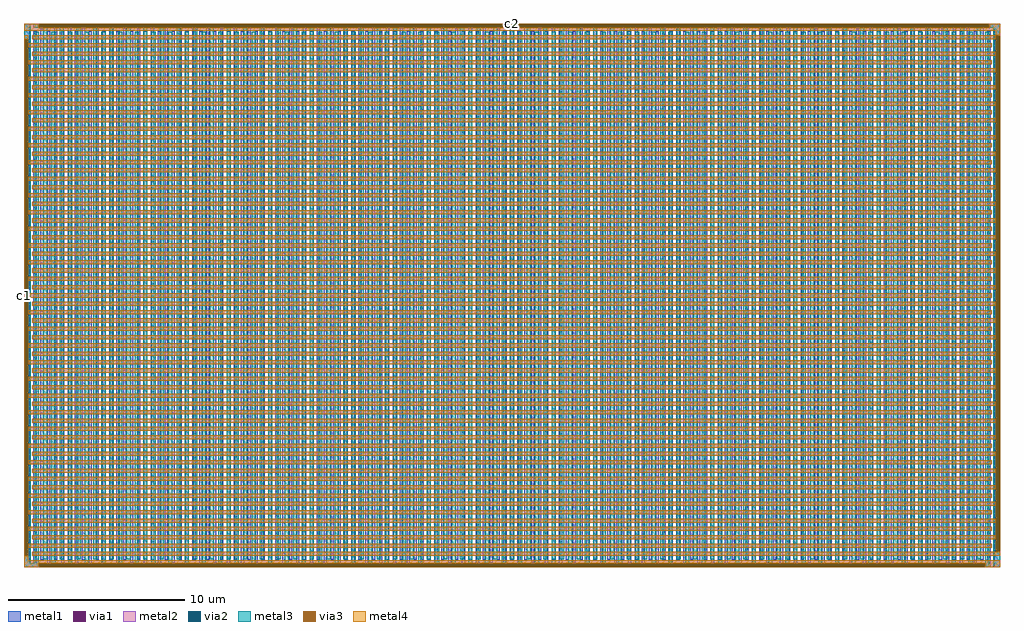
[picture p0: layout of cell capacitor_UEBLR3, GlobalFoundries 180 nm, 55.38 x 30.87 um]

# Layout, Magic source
magic
tech gf180mcuD
magscale 3 26
<< metal1 >>
rect 0 5197 56 5350
rect 92 5349 9600 5350
rect 92 5309 138 5349
rect 9502 5309 9600 5349
rect 92 5308 9600 5309
rect 0 113 1 5197
rect 41 113 56 5197
rect 0 42 56 113
rect 92 42 124 5272
rect 160 78 192 5308
rect 228 42 260 5272
rect 296 78 328 5308
rect 364 42 396 5272
rect 432 78 464 5308
rect 500 42 532 5272
rect 568 78 600 5308
rect 636 42 668 5272
rect 704 78 736 5308
rect 772 42 804 5272
rect 840 78 872 5308
rect 908 42 940 5272
rect 976 78 1008 5308
rect 1044 42 1076 5272
rect 1112 78 1144 5308
rect 1180 42 1212 5272
rect 1248 78 1280 5308
rect 1316 42 1348 5272
rect 1384 78 1416 5308
rect 1452 42 1484 5272
rect 1520 78 1552 5308
rect 1588 42 1620 5272
rect 1656 78 1688 5308
rect 1724 42 1756 5272
rect 1792 78 1824 5308
rect 1860 42 1892 5272
rect 1928 78 1960 5308
rect 1996 42 2028 5272
rect 2064 78 2096 5308
rect 2132 42 2164 5272
rect 2200 78 2232 5308
rect 2268 42 2300 5272
rect 2336 78 2368 5308
rect 2404 42 2436 5272
rect 2472 78 2504 5308
rect 2540 42 2572 5272
rect 2608 78 2640 5308
rect 2676 42 2708 5272
rect 2744 78 2776 5308
rect 2812 42 2844 5272
rect 2880 78 2912 5308
rect 2948 42 2980 5272
rect 3016 78 3048 5308
rect 3084 42 3116 5272
rect 3152 78 3184 5308
rect 3220 42 3252 5272
rect 3288 78 3320 5308
rect 3356 42 3388 5272
rect 3424 78 3456 5308
rect 3492 42 3524 5272
rect 3560 78 3592 5308
rect 3628 42 3660 5272
rect 3696 78 3728 5308
rect 3764 42 3796 5272
rect 3832 78 3864 5308
rect 3900 42 3932 5272
rect 3968 78 4000 5308
rect 4036 42 4068 5272
rect 4104 78 4136 5308
rect 4172 42 4204 5272
rect 4240 78 4272 5308
rect 4308 42 4340 5272
rect 4376 78 4408 5308
rect 4444 42 4476 5272
rect 4512 78 4544 5308
rect 4580 42 4612 5272
rect 4648 78 4680 5308
rect 4716 42 4748 5272
rect 4784 78 4816 5308
rect 4852 42 4884 5272
rect 4920 78 4952 5308
rect 4988 42 5020 5272
rect 5056 78 5088 5308
rect 5124 42 5156 5272
rect 5192 78 5224 5308
rect 5260 42 5292 5272
rect 5328 78 5360 5308
rect 5396 42 5428 5272
rect 5464 78 5496 5308
rect 5532 42 5564 5272
rect 5600 78 5632 5308
rect 5668 42 5700 5272
rect 5736 78 5768 5308
rect 5804 42 5836 5272
rect 5872 78 5904 5308
rect 5940 42 5972 5272
rect 6008 78 6040 5308
rect 6076 42 6108 5272
rect 6144 78 6176 5308
rect 6212 42 6244 5272
rect 6280 78 6312 5308
rect 6348 42 6380 5272
rect 6416 78 6448 5308
rect 6484 42 6516 5272
rect 6552 78 6584 5308
rect 6620 42 6652 5272
rect 6688 78 6720 5308
rect 6756 42 6788 5272
rect 6824 78 6856 5308
rect 6892 42 6924 5272
rect 6960 78 6992 5308
rect 7028 42 7060 5272
rect 7096 78 7128 5308
rect 7164 42 7196 5272
rect 7232 78 7264 5308
rect 7300 42 7332 5272
rect 7368 78 7400 5308
rect 7436 42 7468 5272
rect 7504 78 7536 5308
rect 7572 42 7604 5272
rect 7640 78 7672 5308
rect 7708 42 7740 5272
rect 7776 78 7808 5308
rect 7844 42 7876 5272
rect 7912 78 7944 5308
rect 7980 42 8012 5272
rect 8048 78 8080 5308
rect 8116 42 8148 5272
rect 8184 78 8216 5308
rect 8252 42 8284 5272
rect 8320 78 8352 5308
rect 8388 42 8420 5272
rect 8456 78 8488 5308
rect 8524 42 8556 5272
rect 8592 78 8624 5308
rect 8660 42 8692 5272
rect 8728 78 8760 5308
rect 8796 42 8828 5272
rect 8864 78 8896 5308
rect 8932 42 8964 5272
rect 9000 78 9032 5308
rect 9068 42 9100 5272
rect 9136 78 9168 5308
rect 9204 42 9236 5272
rect 9272 78 9304 5308
rect 9340 42 9372 5272
rect 9408 78 9440 5308
rect 9476 42 9508 5272
rect 0 41 9508 42
rect 0 1 138 41
rect 9462 1 9508 41
rect 0 0 9508 1
rect 9544 5237 9600 5308
rect 9544 153 9559 5237
rect 9599 153 9600 5237
rect 9544 0 9600 153
<< via1 >>
rect 138 5309 9502 5349
rect 1 113 41 5197
rect 138 1 9462 41
rect 9559 153 9599 5237
<< metal2 >>
rect 0 5349 146 5350
rect 9494 5349 9600 5350
rect 0 5309 138 5349
rect 9502 5309 9600 5349
rect 0 5279 9600 5309
rect 9559 5237 9600 5279
rect 0 5197 41 5237
rect 84 5197 9559 5237
rect 41 5115 9516 5155
rect 84 5033 9559 5073
rect 41 4951 9516 4991
rect 84 4869 9559 4909
rect 41 4787 9516 4827
rect 84 4705 9559 4745
rect 41 4623 9516 4663
rect 84 4541 9559 4581
rect 41 4459 9516 4499
rect 84 4377 9559 4417
rect 41 4295 9516 4335
rect 84 4213 9559 4253
rect 41 4131 9516 4171
rect 84 4049 9559 4089
rect 41 3967 9516 4007
rect 84 3885 9559 3925
rect 41 3803 9516 3843
rect 84 3721 9559 3761
rect 41 3639 9516 3679
rect 84 3557 9559 3597
rect 41 3475 9516 3515
rect 84 3393 9559 3433
rect 41 3311 9516 3351
rect 84 3229 9559 3269
rect 41 3147 9516 3187
rect 84 3065 9559 3105
rect 41 2983 9516 3023
rect 84 2901 9559 2941
rect 41 2819 9516 2859
rect 84 2737 9559 2777
rect 41 2655 9516 2695
rect 84 2573 9559 2613
rect 41 2491 9516 2531
rect 84 2409 9559 2449
rect 41 2327 9516 2367
rect 84 2245 9559 2285
rect 41 2163 9516 2203
rect 84 2081 9559 2121
rect 41 1999 9516 2039
rect 84 1917 9559 1957
rect 41 1835 9516 1875
rect 84 1753 9559 1793
rect 41 1671 9516 1711
rect 84 1589 9559 1629
rect 41 1507 9516 1547
rect 84 1425 9559 1465
rect 41 1343 9516 1383
rect 84 1261 9559 1301
rect 41 1179 9516 1219
rect 84 1097 9559 1137
rect 41 1015 9516 1055
rect 84 933 9559 973
rect 41 851 9516 891
rect 84 769 9559 809
rect 41 687 9516 727
rect 84 605 9559 645
rect 41 523 9516 563
rect 84 441 9559 481
rect 41 359 9516 399
rect 84 277 9559 317
rect 41 195 9516 235
rect 84 113 9600 153
rect 0 71 41 113
rect 0 41 9600 71
rect 0 1 138 41
rect 9462 1 9600 41
rect 0 0 146 1
rect 9454 0 9600 1
<< via2 >>
rect 146 5349 9494 5350
rect 146 5310 9494 5349
rect 0 113 1 5197
rect 1 113 40 5197
rect 9560 153 9599 5237
rect 9599 153 9600 5237
rect 146 1 9454 40
rect 146 0 9454 1
<< metal3 >>
rect 0 5197 64 5350
rect 106 5310 146 5350
rect 9494 5310 9600 5350
rect 40 113 64 5197
rect 0 40 64 113
rect 106 40 146 5268
rect 188 82 228 5310
rect 270 40 310 5268
rect 352 82 392 5310
rect 434 40 474 5268
rect 516 82 556 5310
rect 598 40 638 5268
rect 680 82 720 5310
rect 762 40 802 5268
rect 844 82 884 5310
rect 926 40 966 5268
rect 1008 82 1048 5310
rect 1090 40 1130 5268
rect 1172 82 1212 5310
rect 1254 40 1294 5268
rect 1336 82 1376 5310
rect 1418 40 1458 5268
rect 1500 82 1540 5310
rect 1582 40 1622 5268
rect 1664 82 1704 5310
rect 1746 40 1786 5268
rect 1828 82 1868 5310
rect 1910 40 1950 5268
rect 1992 82 2032 5310
rect 2074 40 2114 5268
rect 2156 82 2196 5310
rect 2238 40 2278 5268
rect 2320 82 2360 5310
rect 2402 40 2442 5268
rect 2484 82 2524 5310
rect 2566 40 2606 5268
rect 2648 82 2688 5310
rect 2730 40 2770 5268
rect 2812 82 2852 5310
rect 2894 40 2934 5268
rect 2976 82 3016 5310
rect 3058 40 3098 5268
rect 3140 82 3180 5310
rect 3222 40 3262 5268
rect 3304 82 3344 5310
rect 3386 40 3426 5268
rect 3468 82 3508 5310
rect 3550 40 3590 5268
rect 3632 82 3672 5310
rect 3714 40 3754 5268
rect 3796 82 3836 5310
rect 3878 40 3918 5268
rect 3960 82 4000 5310
rect 4042 40 4082 5268
rect 4124 82 4164 5310
rect 4206 40 4246 5268
rect 4288 82 4328 5310
rect 4370 40 4410 5268
rect 4452 82 4492 5310
rect 4534 40 4574 5268
rect 4616 82 4656 5310
rect 4698 40 4738 5268
rect 4780 82 4820 5310
rect 4862 40 4902 5268
rect 4944 82 4984 5310
rect 5026 40 5066 5268
rect 5108 82 5148 5310
rect 5190 40 5230 5268
rect 5272 82 5312 5310
rect 5354 40 5394 5268
rect 5436 82 5476 5310
rect 5518 40 5558 5268
rect 5600 82 5640 5310
rect 5682 40 5722 5268
rect 5764 82 5804 5310
rect 5846 40 5886 5268
rect 5928 82 5968 5310
rect 6010 40 6050 5268
rect 6092 82 6132 5310
rect 6174 40 6214 5268
rect 6256 82 6296 5310
rect 6338 40 6378 5268
rect 6420 82 6460 5310
rect 6502 40 6542 5268
rect 6584 82 6624 5310
rect 6666 40 6706 5268
rect 6748 82 6788 5310
rect 6830 40 6870 5268
rect 6912 82 6952 5310
rect 6994 40 7034 5268
rect 7076 82 7116 5310
rect 7158 40 7198 5268
rect 7240 82 7280 5310
rect 7322 40 7362 5268
rect 7404 82 7444 5310
rect 7486 40 7526 5268
rect 7568 82 7608 5310
rect 7650 40 7690 5268
rect 7732 82 7772 5310
rect 7814 40 7854 5268
rect 7896 82 7936 5310
rect 7978 40 8018 5268
rect 8060 82 8100 5310
rect 8142 40 8182 5268
rect 8224 82 8264 5310
rect 8306 40 8346 5268
rect 8388 82 8428 5310
rect 8470 40 8510 5268
rect 8552 82 8592 5310
rect 8634 40 8674 5268
rect 8716 82 8756 5310
rect 8798 40 8838 5268
rect 8880 82 8920 5310
rect 8962 40 9002 5268
rect 9044 82 9084 5310
rect 9126 40 9166 5268
rect 9208 82 9248 5310
rect 9290 40 9330 5268
rect 9372 82 9412 5310
rect 0 0 146 40
rect 9454 0 9494 5268
rect 9536 5237 9600 5310
rect 9536 153 9560 5237
rect 9536 0 9600 153
<< via3 >>
rect 146 5310 9494 5350
rect 0 113 40 5197
rect 146 0 9454 40
rect 9560 153 9600 5237
<< metal4 >>
rect 0 5310 146 5350
rect 9494 5310 9600 5350
rect 0 5279 9600 5310
rect 9560 5237 9600 5279
rect 0 5197 40 5237
rect 82 5197 9560 5237
rect 40 5115 9518 5155
rect 82 5033 9560 5073
rect 40 4951 9518 4991
rect 82 4869 9560 4909
rect 40 4787 9518 4827
rect 82 4705 9560 4745
rect 40 4623 9518 4663
rect 82 4541 9560 4581
rect 40 4459 9518 4499
rect 82 4377 9560 4417
rect 40 4295 9518 4335
rect 82 4213 9560 4253
rect 40 4131 9518 4171
rect 82 4049 9560 4089
rect 40 3967 9518 4007
rect 82 3885 9560 3925
rect 40 3803 9518 3843
rect 82 3721 9560 3761
rect 40 3639 9518 3679
rect 82 3557 9560 3597
rect 40 3475 9518 3515
rect 82 3393 9560 3433
rect 40 3311 9518 3351
rect 82 3229 9560 3269
rect 40 3147 9518 3187
rect 82 3065 9560 3105
rect 40 2983 9518 3023
rect 82 2901 9560 2941
rect 40 2819 9518 2859
rect 82 2737 9560 2777
rect 40 2655 9518 2695
rect 82 2573 9560 2613
rect 40 2491 9518 2531
rect 82 2409 9560 2449
rect 40 2327 9518 2367
rect 82 2245 9560 2285
rect 40 2163 9518 2203
rect 82 2081 9560 2121
rect 40 1999 9518 2039
rect 82 1917 9560 1957
rect 40 1835 9518 1875
rect 82 1753 9560 1793
rect 40 1671 9518 1711
rect 82 1589 9560 1629
rect 40 1507 9518 1547
rect 82 1425 9560 1465
rect 40 1343 9518 1383
rect 82 1261 9560 1301
rect 40 1179 9518 1219
rect 82 1097 9560 1137
rect 40 1015 9518 1055
rect 82 933 9560 973
rect 40 851 9518 891
rect 82 769 9560 809
rect 40 687 9518 727
rect 82 605 9560 645
rect 40 523 9518 563
rect 82 441 9560 481
rect 40 359 9518 399
rect 82 277 9560 317
rect 40 195 9518 235
rect 82 113 9600 153
rect 0 71 40 113
rect 0 40 9600 71
rect 0 0 146 40
rect 9454 0 9600 40
<< labels >>
rlabel via3 2 2675 2 2675 0 c1
port 1 nsew
rlabel via3 4800 5348 4800 5348 0 c2
port 2 nsew
<< properties >>
string device csubckt cap_cmomf 0 0 1 1 w=48u l=26.749u mmin=1 mmax=4 subblock=0 mm_ok=1 c1 0 0 c2 0 0
string FIXED_BBOX 0 0 9600 5350
string gencell cap_cmomf
string library gf180mcu
string parameters w 48 l 26.749 value 1652.446 class capacitor mmin metal1 mmax metal4 square 1 subblock 0 lmin 2.00 wmin 2.00 lmax 100.0 wmax 100.0
<< end >>
